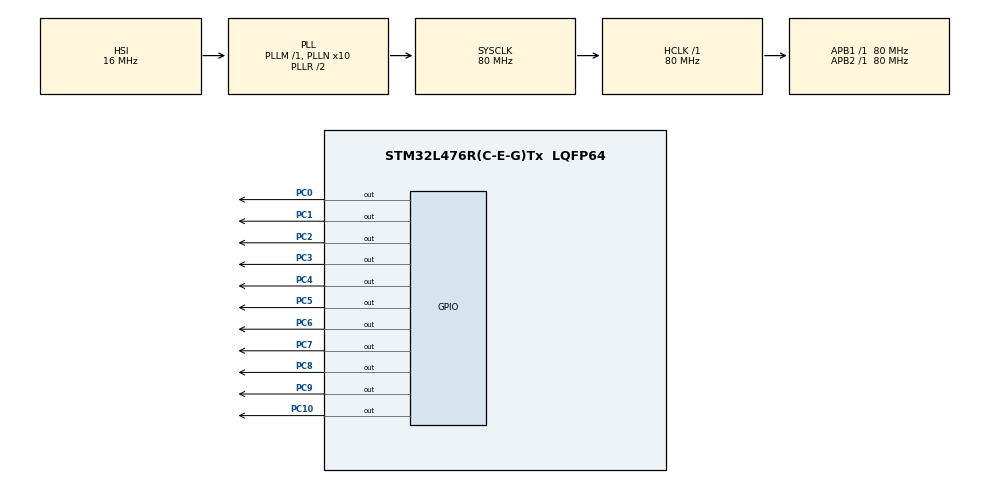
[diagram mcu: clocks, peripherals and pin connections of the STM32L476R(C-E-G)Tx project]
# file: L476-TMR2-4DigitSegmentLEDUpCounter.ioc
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Mcu.Family=STM32L4
Mcu.Name=STM32L476R(C-E-G)Tx
Mcu.Package=LQFP64
NVIC.PriorityGroup=NVIC_PRIORITYGROUP_4
NVIC.TIM2_IRQn=true\:0\:0\:false\:false\:true\:true\:true\:true
PC0.Signal=GPIO_Output
PC1.Signal=GPIO_Output
PC10.Signal=GPIO_Output
PC2.Signal=GPIO_Output
PC3.Signal=GPIO_Output
PC4.Signal=GPIO_Output
PC5.Signal=GPIO_Output
PC6.Signal=GPIO_Output
PC7.Signal=GPIO_Output
PC8.Signal=GPIO_Output
PC9.Signal=GPIO_Output
ProjectManager.HeapSize=0x200
ProjectManager.StackSize=0x400
ProjectManager.TargetToolchain=STM32CubeIDE
RCC.ADCFreq_Value=64000000
RCC.AHBFreq_Value=80000000
RCC.APB1Freq_Value=80000000
RCC.APB1TimFreq_Value=80000000
RCC.APB2Freq_Value=80000000
RCC.APB2TimFreq_Value=80000000
RCC.CortexFreq_Value=80000000
RCC.HCLKFreq_Value=80000000
RCC.HSE_VALUE=8000000
RCC.HSI_VALUE=16000000
RCC.LSE_VALUE=32768
RCC.MSI_VALUE=4000000
RCC.PLLN=10
RCC.PLLSourceVirtual=RCC_PLLSOURCE_HSI
RCC.PREFETCH_ENABLE=1
RCC.SYSCLKFreq_VALUE=80000000
RCC.SYSCLKSource=RCC_SYSCLKSOURCE_PLLCLK
RCC.USBFreq_Value=64000000
RCC.VCOOutputFreq_Value=160000000
TIM2.AutoReloadPreload=TIM_AUTORELOAD_PRELOAD_ENABLE
TIM2.ClockDivision=TIM_CLOCKDIVISION_DIV2
TIM2.CounterMode=TIM_COUNTERMODE_DOWN
TIM2.Period=7
TIM2.Prescaler=39999
VP_TIM2_VS_ClockSourceINT.Mode=Internal
board=NUCLEO-L476RG

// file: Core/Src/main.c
/* USER CODE BEGIN Header */
/**
  ******************************************************************************
  * @file           : main.c
  * @brief          : Main program body
  ******************************************************************************
  * @attention
  *
  * Copyright (c) 2026 STMicroelectronics.
  * All rights reserved.
  *
  * This software is licensed under terms that can be found in the LICENSE file
  * in the root directory of this software component.
  * If no LICENSE file comes with this software, it is provided AS-IS.
  *
  ******************************************************************************
  */
/* USER CODE END Header */
#include "main.h"

/* USER CODE BEGIN Includes */
#define digit1 GPIO_PIN_7
#define digit2 GPIO_PIN_8
#define digit3 GPIO_PIN_9
#define digit4 GPIO_PIN_10
#include <stdint.h>
uint16_t LEDS[]={0x3F,  //*0*//
				 0x06,  //*1*//
				 0x5B,	//*2*//
				 0x4F,	//*3*//
				 0x66,	//*4*//
				 0x6D,	//*5*//
				 0x7D,	//*6*//
				 0x07,	//*7*//
				 0x7F,	//*8*//
				 0x6F};	//*9*//
/* USER CODE END Includes */

/* USER CODE BEGIN PTD */
int MSD, MID1, MID2, LSD, m, n;
volatile int Count=9970;
volatile int flag=0;
void HAL_TIM_PeriodElapsedCallback(TIM_HandleTypeDef *htim){

		  MSD=Count/1000;                                       //Get MSD
		  m=Count % 1000;
		  MID2= m/100;                                          //Get MID2
		  n=m%100;
		  MID1=n/10;                                            //Get MID1
		  LSD=n %10;                                            //Get LSD

		  if (flag==0){
			  HAL_GPIO_WritePin(GPIOC, digit4, GPIO_PIN_RESET);
			  GPIOC -> ODR = LEDS[MSD];
			  HAL_GPIO_WritePin(GPIOC, digit1,GPIO_PIN_SET);
			  flag++;
		  }else if(flag==1){
			  HAL_GPIO_WritePin(GPIOC, digit1, GPIO_PIN_RESET);
			  GPIOC -> ODR = LEDS[MID2];
			  HAL_GPIO_WritePin(GPIOC, digit2,GPIO_PIN_SET);
			  flag++;
		  }else if(flag==2){
			  HAL_GPIO_WritePin(GPIOC, digit2, GPIO_PIN_RESET);
			  GPIOC -> ODR = LEDS[MID1];
			  HAL_GPIO_WritePin(GPIOC, digit3,GPIO_PIN_SET);
			  flag++;
		  }else if(flag==3){
			  HAL_GPIO_WritePin(GPIOC, digit3, GPIO_PIN_RESET);
			  GPIOC -> ODR = LEDS[LSD];
			  HAL_GPIO_WritePin(GPIOC, digit4,GPIO_PIN_SET);
			  flag=0;
		  }
}

/* USER CODE END PTD */

TIM_HandleTypeDef htim2;

void SystemClock_Config(void);
static void MX_GPIO_Init(void);
static void MX_TIM2_Init(void);

int main(void)
{

  /* MCU Configuration--------------------------------------------------------*/

  /* Reset of all peripherals, Initializes the Flash interface and the Systick. */
  HAL_Init();

  /* Configure the system clock */
  SystemClock_Config();

  /* Initialize all configured peripherals */
  MX_GPIO_Init();
  MX_TIM2_Init();

  /* Infinite loop */
  /* USER CODE BEGIN WHILE */
  HAL_GPIO_WritePin(GPIOC, digit1, GPIO_PIN_RESET);
  HAL_GPIO_WritePin(GPIOC, digit2, GPIO_PIN_RESET);
  HAL_GPIO_WritePin(GPIOC, digit3, GPIO_PIN_RESET);
  HAL_GPIO_WritePin(GPIOC, digit4, GPIO_PIN_RESET);

  HAL_TIM_Base_Start_IT(&htim2);

  while (1)
  {
		Count ++;
		if(Count >9999) Count=0;
		HAL_Delay(1000);

		/*==================4 digits display==================================*/
//		  GPIOC -> ODR = LEDS[MSD];
//		  HAL_GPIO_WritePin(GPIOC, digit1,GPIO_PIN_SET);
//		  HAL_Delay(5);
//		  HAL_GPIO_WritePin(GPIOC, digit1, GPIO_PIN_RESET);
//
//		  GPIOC -> ODR = LEDS[MID2];
//		  HAL_GPIO_WritePin(GPIOC, digit2,GPIO_PIN_SET);
//		  HAL_Delay(5);
//		  HAL_GPIO_WritePin(GPIOC, digit2, GPIO_PIN_RESET);
//
//		  GPIOC -> ODR = LEDS[MID1];
//		  HAL_GPIO_WritePin(GPIOC, digit3,GPIO_PIN_SET);
//		  HAL_Delay(5);
//		  HAL_GPIO_WritePin(GPIOC, digit3, GPIO_PIN_RESET);
//
//		  GPIOC -> ODR = LEDS[LSD];
//		  HAL_GPIO_WritePin(GPIOC, digit4,GPIO_PIN_SET);
//		  HAL_Delay(5);
//		  HAL_GPIO_WritePin(GPIOC, digit4, GPIO_PIN_RESET);

	  /*==================4 digits display==================================*/

    /* USER CODE END WHILE */

  }
}

void SystemClock_Config(void)
{
  RCC_OscInitTypeDef RCC_OscInitStruct = {0};
  RCC_ClkInitTypeDef RCC_ClkInitStruct = {0};

  /** Configure the main internal regulator output voltage
  */
  if (HAL_PWREx_ControlVoltageScaling(PWR_REGULATOR_VOLTAGE_SCALE1) != HAL_OK)
  {
    Error_Handler();
  }

  /** Initializes the RCC Oscillators according to the specified parameters
  * in the RCC_OscInitTypeDef structure.
  */
  RCC_OscInitStruct.OscillatorType = RCC_OSCILLATORTYPE_HSI;
  RCC_OscInitStruct.HSIState = RCC_HSI_ON;
  RCC_OscInitStruct.HSICalibrationValue = RCC_HSICALIBRATION_DEFAULT;
  RCC_OscInitStruct.PLL.PLLState = RCC_PLL_ON;
  RCC_OscInitStruct.PLL.PLLSource = RCC_PLLSOURCE_HSI;
  RCC_OscInitStruct.PLL.PLLM = 1;
  RCC_OscInitStruct.PLL.PLLN = 10;
  RCC_OscInitStruct.PLL.PLLP = RCC_PLLP_DIV7;
  RCC_OscInitStruct.PLL.PLLQ = RCC_PLLQ_DIV2;
  RCC_OscInitStruct.PLL.PLLR = RCC_PLLR_DIV2;
  if (HAL_RCC_OscConfig(&RCC_OscInitStruct) != HAL_OK)
  {
    Error_Handler();
  }

  /** Initializes the CPU, AHB and APB buses clocks
  */
  RCC_ClkInitStruct.ClockType = RCC_CLOCKTYPE_HCLK|RCC_CLOCKTYPE_SYSCLK
                              |RCC_CLOCKTYPE_PCLK1|RCC_CLOCKTYPE_PCLK2;
  RCC_ClkInitStruct.SYSCLKSource = RCC_SYSCLKSOURCE_PLLCLK;
  RCC_ClkInitStruct.AHBCLKDivider = RCC_SYSCLK_DIV1;
  RCC_ClkInitStruct.APB1CLKDivider = RCC_HCLK_DIV1;
  RCC_ClkInitStruct.APB2CLKDivider = RCC_HCLK_DIV1;

  if (HAL_RCC_ClockConfig(&RCC_ClkInitStruct, FLASH_LATENCY_4) != HAL_OK)
  {
    Error_Handler();
  }
}

static void MX_TIM2_Init(void)
{

  TIM_ClockConfigTypeDef sClockSourceConfig = {0};
  TIM_MasterConfigTypeDef sMasterConfig = {0};

  htim2.Instance = TIM2;
  htim2.Init.Prescaler = 39999;
  htim2.Init.CounterMode = TIM_COUNTERMODE_DOWN;
  htim2.Init.Period = 7;
  htim2.Init.ClockDivision = TIM_CLOCKDIVISION_DIV2;
  htim2.Init.AutoReloadPreload = TIM_AUTORELOAD_PRELOAD_ENABLE;
  if (HAL_TIM_Base_Init(&htim2) != HAL_OK)
  {
    Error_Handler();
  }
  sClockSourceConfig.ClockSource = TIM_CLOCKSOURCE_INTERNAL;
  if (HAL_TIM_ConfigClockSource(&htim2, &sClockSourceConfig) != HAL_OK)
  {
    Error_Handler();
  }
  sMasterConfig.MasterOutputTrigger = TIM_TRGO_RESET;
  sMasterConfig.MasterSlaveMode = TIM_MASTERSLAVEMODE_DISABLE;
  if (HAL_TIMEx_MasterConfigSynchronization(&htim2, &sMasterConfig) != HAL_OK)
  {
    Error_Handler();
  }

}

static void MX_GPIO_Init(void)
{
  GPIO_InitTypeDef GPIO_InitStruct = {0};

  /* GPIO Ports Clock Enable */
  __HAL_RCC_GPIOC_CLK_ENABLE();

  /*Configure GPIO pin Output Level */
  HAL_GPIO_WritePin(GPIOC, GPIO_PIN_0|GPIO_PIN_1|GPIO_PIN_2|GPIO_PIN_3
                          |GPIO_PIN_4|GPIO_PIN_5|GPIO_PIN_6|GPIO_PIN_7
                          |GPIO_PIN_8|GPIO_PIN_9|GPIO_PIN_10, GPIO_PIN_RESET);

  /*Configure GPIO pins : PC0 PC1 PC2 PC3
                           PC4 PC5 PC6 PC7
                           PC8 PC9 PC10 */
  GPIO_InitStruct.Pin = GPIO_PIN_0|GPIO_PIN_1|GPIO_PIN_2|GPIO_PIN_3
                          |GPIO_PIN_4|GPIO_PIN_5|GPIO_PIN_6|GPIO_PIN_7
                          |GPIO_PIN_8|GPIO_PIN_9|GPIO_PIN_10;
  GPIO_InitStruct.Mode = GPIO_MODE_OUTPUT_PP;
  GPIO_InitStruct.Pull = GPIO_NOPULL;
  GPIO_InitStruct.Speed = GPIO_SPEED_FREQ_LOW;
  HAL_GPIO_Init(GPIOC, &GPIO_InitStruct);

}

void Error_Handler(void)
{
  __disable_irq();
  while (1)
  {
  }
}
